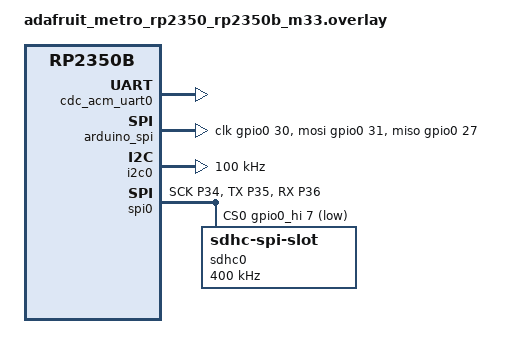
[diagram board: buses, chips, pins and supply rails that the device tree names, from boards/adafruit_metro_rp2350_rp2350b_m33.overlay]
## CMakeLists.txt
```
#-------------------------------------------------------------------------------
# Zephyr Example Application
#
# Copyright (c) 2021 Nordic Semiconductor ASA
# SPDX-License-Identifier: Apache-2.0

cmake_minimum_required(VERSION 3.13.1)

# Add custom devicetree bindings directory
list(APPEND DTS_ROOT ${CMAKE_CURRENT_SOURCE_DIR})

find_package(Zephyr REQUIRED HINTS $ENV{ZEPHYR_BASE})

project(app LANGUAGES C)

# USB device stack helpers (local copy)
set(SAMPLE_USBD_DIR ${CMAKE_CURRENT_SOURCE_DIR}/usb)
target_include_directories(app PRIVATE ${SAMPLE_USBD_DIR})
target_sources_ifdef(CONFIG_USB_DEVICE_STACK_NEXT app PRIVATE
  ${SAMPLE_USBD_DIR}/sample_usbd_init.c
)

target_sources(app PRIVATE
  src/json_parser.c
  src/main.c
  src/file_manager.c
)
```

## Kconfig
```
# Copyright (c) 2021 Nordic Semiconductor ASA
# SPDX-License-Identifier: Apache-2.0
#
# This file is the application Kconfig entry point. All application Kconfig
# options can be defined here or included via other application Kconfig files.
# You can browse these options using the west targets menuconfig (terminal) or
# guiconfig (GUI).

menu "Zephyr"
source "Kconfig.zephyr"
endmenu

# Include USB sample configuration options
rsource "usb/Kconfig.sample_usbd"

module = ZTHULHU
module-str = ZTHULHU
source "subsys/logging/Kconfig.template.log_config"
```

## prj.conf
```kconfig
# USB Device Configuration (New Stack)
CONFIG_USB_DEVICE_STACK_NEXT=y
CONFIG_USBD_CDC_ACM_CLASS=y

# USB Device Descriptors (Adafruit VID/PID)
CONFIG_SAMPLE_USBD_VID=0x239A
CONFIG_SAMPLE_USBD_PID=0x8123
CONFIG_SAMPLE_USBD_MANUFACTURER="Adafruit Industries LLC"
CONFIG_SAMPLE_USBD_PRODUCT="Metro RP2350"

# Serial and Console
CONFIG_SERIAL=y
CONFIG_CONSOLE=y
CONFIG_UART_CONSOLE=y
CONFIG_UART_LINE_CTRL=y
CONFIG_STDOUT_CONSOLE=y

# Display and LVGL
CONFIG_DISPLAY=y
CONFIG_LVGL=y
CONFIG_LV_COLOR_DEPTH_24=y
CONFIG_LV_USE_LABEL=y
CONFIG_LV_FONT_MONTSERRAT_14=y

CONFIG_LV_Z_MEM_POOL_SIZE=16384


# Logging
CONFIG_LOG=y
CONFIG_LOG_DEFAULT_LEVEL=3
CONFIG_LOG_BUFFER_SIZE=8192
CONFIG_LOG_MODE_DEFERRED=y
# Reduce noise from display/LVGL
CONFIG_DISPLAY_LOG_LEVEL_WRN=y
CONFIG_LV_USE_LOG=n
# Silence I2C errors while debugging SD
CONFIG_I2C_LOG_LEVEL_OFF=y

# JSON
CONFIG_JSON_LIBRARY=y

# File system (SD card via SPI on Metro RP2350 onboard slot)
CONFIG_GPIO=y
CONFIG_SPI=y
CONFIG_SPI_LOG_LEVEL_WRN=y
CONFIG_SDHC=y
CONFIG_SDHC_LOG_LEVEL_DBG=y
CONFIG_SDMMC_STACK=y
# Note: DISK_DRIVER_SDMMC not needed - devicetree zephyr,sdmmc-disk handles it
CONFIG_FILE_SYSTEM=y
CONFIG_FS_LOG_LEVEL_DBG=y
CONFIG_FAT_FILESYSTEM_ELM=y
CONFIG_DISK_ACCESS=y
CONFIG_DISK_LOG_LEVEL_DBG=y

# Memory management
CONFIG_MAIN_STACK_SIZE=4096
CONFIG_HEAP_MEM_POOL_SIZE=16384
```

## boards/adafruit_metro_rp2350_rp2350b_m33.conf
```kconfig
# Force the image to start at flash base so RP2350 bootrom can find it.
CONFIG_USE_DT_CODE_PARTITION=n
CONFIG_FLASH_LOAD_OFFSET=0x0
CONFIG_FLASH_LOAD_SIZE=0x1000000
```

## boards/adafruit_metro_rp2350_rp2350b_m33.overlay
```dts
/*
 * Copyright (c) 2026 Pythulhu Project
 * SPDX-License-Identifier: Apache-2.0
 */

#include <zephyr/dt-bindings/pinctrl/rpi-pico-rp2350b-pinctrl.h>
#include <zephyr/dt-bindings/gpio/gpio.h>
#include <zephyr/dt-bindings/i2c/i2c.h>
#include <zephyr/dt-bindings/input/input-event-codes.h>
#include <zephyr/dt-bindings/clock/rpi_pico_clock_common.h>

/ {
	chosen {
		zephyr,console = &cdc_acm_uart0;
		zephyr,shell-uart = &cdc_acm_uart0;
	};

	/* LVGL encoder input pseudo-device */
	lvgl_encoder: lvgl_encoder {
		compatible = "zephyr,lvgl-encoder-input";
		rotation-input-code = <INPUT_REL_Y>;
		button-input-code = <INPUT_KEY_0>;
	};
};

&zephyr_udc0 {
	cdc_acm_uart0: cdc_acm_uart0 {
		compatible = "zephyr,cdc-acm-uart";
	};
};

&pinctrl {
	pio0_spi0_arduino_default: pio0_spi0_arduino_default {
		group1 {
			/* ICSP SPI1: SCK=GPIO30, MOSI=GPIO31, MISO=GPIO27 */
			pinmux = <PIO0_P30>, <PIO0_P31>, <PIO0_P27>;
		};
	};

	/* Metro RP2350 onboard SD card slot - hardware SPI0 */
	spi0_sd_default: spi0_sd_default {
		group1 {
			pinmux = <SPI0_SCK_P34>, <SPI0_TX_P35>;
		};
		group2 {
			pinmux = <SPI0_RX_P36>;
			input-enable;
		};
	};
};

&arduino_spi {
	clk-gpios = <&gpio0 30 0>;
	mosi-gpios = <&gpio0 31 0>;
	miso-gpios = <&gpio0 27 0>;
	pinctrl-0 = <&pio0_spi0_arduino_default>;
	pinctrl-names = "default";
};

/* Enable gpio0_hi for GPIOs 32-47 (used by onboard SD card) */
&gpio0_hi {
	status = "okay";
};

/* STEMMA QT I2C - GPIO20 (SDA) and GPIO21 (SCL) */
/* FIXME: CHANGE TO USE ARDUINO I2C */
&i2c0 {
	status = "okay";
	clock-frequency = <I2C_BITRATE_STANDARD>;

	seesaw: seesaw@36 {
		compatible = "adafruit,seesaw-encoder";
		reg = <0x36>;
		seesaw-product-id = <4991>;
		encoder-pin = <24>;
		poll-interval-ms = <10>;
		/* Disabled while debugging SD card */
		status = "disabled";
	};
};

/* Metro RP2350 onboard SD card slot - hardware SPI0 */
&spi0 {
	status = "okay";
	pinctrl-0 = <&spi0_sd_default>;
	pinctrl-names = "default";
	cs-gpios = <&gpio0_hi 7 GPIO_ACTIVE_LOW>;  /* GPIO 39 = 32 + 7 */

	sdhc0: sdhc@0 {
		compatible = "zephyr,sdhc-spi-slot";
		reg = <0>;
		status = "okay";
		spi-max-frequency = <400000>;
		power-delay-ms = <100>;
		mmc {
			compatible = "zephyr,sdmmc-disk";
			disk-name = "SD0";
			status = "okay";
		};
	};
};
```

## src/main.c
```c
#include <sample_usbd.h>

#include "file_manager.h"

#include <zephyr/device.h>
#include <zephyr/devicetree.h>
#include <zephyr/drivers/display.h>
#include <zephyr/drivers/uart.h>
#include <zephyr/kernel.h>
#include <zephyr/logging/log.h>
#include <zephyr/usb/usbd.h>
#include <lvgl.h>

LOG_MODULE_REGISTER(zthulhu, LOG_LEVEL_DBG);

#define UI_TICK_MS 10

static const struct device *const console_dev = DEVICE_DT_GET_ONE(zephyr_cdc_acm_uart);
static struct usbd_context *sample_usbd;
static K_SEM_DEFINE(dtr_sem, 0, 1);

static void usb_msg_cb(struct usbd_context *const ctx, const struct usbd_msg *msg)
{

	/* Handle VBUS detection if supported */
	if (usbd_can_detect_vbus(ctx)) {
		if (msg->type == USBD_MSG_VBUS_READY) {
			if (usbd_enable(ctx)) {
				LOG_ERR("Failed to enable USB device");
			}
		}
		if (msg->type == USBD_MSG_VBUS_REMOVED) {
			if (usbd_disable(ctx)) {
				LOG_ERR("Failed to disable USB device");
			}
		}
	}

	/* Handle DTR signal for console connection detection */
	if (msg->type == USBD_MSG_CDC_ACM_CONTROL_LINE_STATE) {
		uint32_t dtr = 0;
		uart_line_ctrl_get(msg->dev, UART_LINE_CTRL_DTR, &dtr);
		if (dtr) {
			LOG_INF("USB console connected");
			k_sem_give(&dtr_sem);
		}
	}
}

static int enable_usb_device(void)
{
	int err;

	sample_usbd = sample_usbd_init_device(usb_msg_cb);
	if (sample_usbd == NULL) {
		LOG_ERR("Failed to initialize USB device");
		return -ENODEV;
	}

	/* If VBUS detection is not available, enable USB immediately */
	if (!usbd_can_detect_vbus(sample_usbd)) {
		err = usbd_enable(sample_usbd);
		if (err) {
			LOG_ERR("Failed to enable USB device");
			return err;
		}
	}

	LOG_INF("USB device support enabled");
	return 0;
}

int main(void)
{
	const struct device *display_dev;
	int ret;

	LOG_INF("Zthulhu starting...");

	/* Initialize USB CDC ACM */
	if (!device_is_ready(console_dev)) {
		LOG_ERR("CDC ACM device not ready");
		return -ENODEV;
	}

	ret = enable_usb_device();
	if (ret != 0) {
		LOG_ERR("Failed to enable USB device support");
		return ret;
	}

	/* Wait for DTR with timeout (optional - don't block indefinitely) */
	if (k_sem_take(&dtr_sem, K_MSEC(5000)) == 0) {
		LOG_INF("Console terminal connected");
	} else {
		LOG_INF("No console terminal connected, continuing anyway");
	}

	/* Initialize display */
	display_dev = DEVICE_DT_GET(DT_CHOSEN(zephyr_display));
	if (!device_is_ready(display_dev)) {
		LOG_ERR("Display device not ready");
		return -ENODEV;
	}

	LOG_INF("Display device ready: %s", display_dev->name);

	ret = display_blanking_off(display_dev);
	if (ret != 0) {
		LOG_WRN("Failed to turn off display blanking: %d", ret);
	}

	/* Set up LVGL screen */
	lv_obj_t *screen = lv_screen_active();
	lv_obj_set_style_bg_color(screen, lv_color_black(), LV_PART_MAIN);
	lv_obj_set_style_bg_opa(screen, LV_OPA_COVER, LV_PART_MAIN);

	lv_obj_t *label = lv_label_create(screen);
	lv_label_set_text(label, "Zthulhu: TTRPG Companion");
	lv_obj_set_style_text_color(label, lv_color_hex(0x00FF00), LV_PART_MAIN);
	lv_obj_align(label, LV_ALIGN_CENTER, 0, -20);

	/* Mount SD card and show status on display */
	lv_obj_t *sd_status = lv_label_create(screen);
	lv_obj_align(sd_status, LV_ALIGN_CENTER, 0, 20);

	lv_label_set_text(sd_status, "SD: initializing...");
	lv_obj_set_style_text_color(sd_status, lv_color_hex(0xFFFF00), LV_PART_MAIN);
	lv_timer_handler();

	ret = zth_file_manager_mount_sdcard();
	if (ret != 0) {
		const char *step = zth_file_manager_get_error_step();
		int code = zth_file_manager_get_error_code();
		LOG_WRN("Failed to mount SD card: %d (continuing without storage)", ret);
		lv_label_set_text_fmt(sd_status, "SD: %s err %d", step ? step : "unknown", code);
		lv_obj_set_style_text_color(sd_status, lv_color_hex(0xFF0000), LV_PART_MAIN);
	} else {
		LOG_INF("SD card mounted at %s", ZTH_MOUNT_POINT);
		lv_label_set_text_fmt(sd_status, "SD: mounted at %s", ZTH_MOUNT_POINT);
		lv_obj_set_style_text_color(sd_status, lv_color_hex(0x00FF00), LV_PART_MAIN);
		zth_file_manager_print_directory(ZTH_MOUNT_POINT, 0);
	}

	lv_timer_handler();
	LOG_INF("LVGL initialized, entering main loop");

	/* Main loop - LVGL timer handler
	 * Note: lv_tick_inc() is handled automatically by Zephyr's LVGL integration
	 */
	while (1) {
		lv_timer_handler();
		k_msleep(UI_TICK_MS);
	}

	return 0;
}
```

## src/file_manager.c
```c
#include "file_manager.h"

#include <string.h>

#include <zephyr/fs/fs.h>
#include <ff.h>
#include <zephyr/kernel.h>
#include <zephyr/logging/log.h>
#include <zephyr/storage/disk_access.h>

LOG_MODULE_REGISTER(file_manager, LOG_LEVEL_DBG);

static FATFS zth_fat_fs;
static struct fs_mount_t zth_mount = {
	.type = FS_FATFS,
	.fs_data = &zth_fat_fs,
	.mnt_point = ZTH_MOUNT_POINT,
	.storage_dev = (void *)ZTH_SD_DISK_NAME,
};

static int zth_file_manager_make_path(char *out, size_t out_len,
				      const char *prefix, const char *suffix,
				      const char *ext)
{
	int ret = snprintk(out, out_len, "%s%s%s", prefix, suffix, ext);

	if (ret < 0 || (size_t)ret >= out_len) {
		return -ENAMETOOLONG;
	}

	return 0;
}

/* Store last error step for display feedback */
static const char *zth_sd_error_step;
static int zth_sd_error_code;

const char *zth_file_manager_get_error_step(void)
{
	return zth_sd_error_step;
}

int zth_file_manager_get_error_code(void)
{
	return zth_sd_error_code;
}

int zth_file_manager_mount_sdcard(void)
{
	int ret;
	uint32_t sector_count = 0;
	uint32_t sector_size = 0;

	zth_sd_error_step = NULL;
	zth_sd_error_code = 0;

	LOG_INF("Initializing SD card disk '%s'...", ZTH_SD_DISK_NAME);

	/* Give SD card time to power up */
	k_msleep(100);

	/* Check if disk is already initialized (devicetree auto-init) */
	ret = disk_access_status(ZTH_SD_DISK_NAME);
	LOG_INF("Initial disk_access_status: %d", ret);

	if (ret == DISK_STATUS_UNINIT) {
		ret = disk_access_init(ZTH_SD_DISK_NAME);
		if (ret) {
			LOG_ERR("disk_access_init(%s) failed: %d", ZTH_SD_DISK_NAME, ret);
			zth_sd_error_step = "disk_init";
			zth_sd_error_code = ret;
			return ret;
		}
	} else if (ret < 0) {
		LOG_ERR("disk_access_status(%s) failed: %d", ZTH_SD_DISK_NAME, ret);
		zth_sd_error_step = "disk_status";
		zth_sd_error_code = ret;
		return ret;
	} else {
		LOG_INF("Disk already initialized (status=%d)", ret);
	}

	/* Check status after init */
	ret = disk_access_status(ZTH_SD_DISK_NAME);
	LOG_INF("Post-init disk_access_status: %d", ret);
	if (ret != DISK_STATUS_OK) {
		zth_sd_error_step = "disk_not_ok";
		zth_sd_error_code = ret;
		return -EIO;
	}

	ret = disk_access_ioctl(ZTH_SD_DISK_NAME, DISK_IOCTL_GET_SECTOR_COUNT, &sector_count);
	LOG_INF("Sector count: %u (ret=%d)", sector_count, ret);

	ret = disk_access_ioctl(ZTH_SD_DISK_NAME, DISK_IOCTL_GET_SECTOR_SIZE, &sector_size);
	LOG_INF("Sector size: %u (ret=%d)", sector_size, ret);

	LOG_INF("Mounting filesystem at %s...", ZTH_MOUNT_POINT);

	ret = fs_mount(&zth_mount);
	if (ret) {
		LOG_ERR("fs_mount(%s) failed: %d", ZTH_MOUNT_POINT, ret);
		zth_sd_error_step = "fs_mount";
		zth_sd_error_code = ret;
	} else {
		LOG_INF("Filesystem mounted successfully");
	}

	return ret;
}

int zth_file_manager_write_to(const char *path, const char *contents)
{
	struct fs_file_t file;
	ssize_t wrote;
	int ret;

	if (path == NULL || contents == NULL) {
		return -EINVAL;
	}

	fs_file_t_init(&file);
	ret = fs_open(&file, path, FS_O_CREATE | FS_O_WRITE);
	if (ret) {
		return ret;
	}

	ret = fs_seek(&file, 0, FS_SEEK_END);
	if (ret) {
		fs_close(&file);
		return ret;
	}

	wrote = fs_write(&file, contents, strlen(contents));
	if (wrote < 0) {
		ret = (int)wrote;
	}

	fs_close(&file);
	return ret;
}

int zth_file_manager_get_character_path(char *out, size_t out_len,
					const char *game,
					const char *character_name)
{
	if (out == NULL || game == NULL || character_name == NULL) {
		return -EINVAL;
	}

	char tmp[ZTH_FILE_MANAGER_PATH_MAX];
	int ret = zth_file_manager_make_path(tmp, sizeof(tmp), ZTH_CHARACTER_PATH,
					     game, "/");
	if (ret) {
		return ret;
	}

	return zth_file_manager_make_path(out, out_len, tmp, character_name,
					  ".json");
}

static int zth_file_manager_list_dir(const char *path, bool strip_json,
				     zth_file_name_cb cb, void *user)
{
	struct fs_dir_t dir;
	struct fs_dirent entry;
	int ret;

	if (path == NULL || cb == NULL) {
		return -EINVAL;
	}

	fs_dir_t_init(&dir);
	ret = fs_opendir(&dir, path);
	if (ret) {
		return ret;
	}

	while ((ret = fs_readdir(&dir, &entry)) == 0 && entry.name[0] != '\0') {
		if (entry.type == FS_DIR_ENTRY_FILE) {
			if (strip_json) {
				size_t len = strlen(entry.name);

				if (len > 5 && strcmp(entry.name + len - 5, ".json") == 0) {
					char name_buf[sizeof(entry.name)];

					memcpy(name_buf, entry.name, len - 5);
					name_buf[len - 5] = '\0';
					cb(name_buf, user);
				}
			} else {
				cb(entry.name, user);
			}
		}
	}

	fs_closedir(&dir);
	return ret;
}

int zth_file_manager_list_characters(const char *game, zth_file_name_cb cb,
				     void *user)
{
	char path[ZTH_FILE_MANAGER_PATH_MAX];
	int ret;

	if (game == NULL) {
		return -EINVAL;
	}

	ret = zth_file_manager_make_path(path, sizeof(path), ZTH_CHARACTER_PATH,
					 game, "");
	if (ret) {
		return ret;
	}

	return zth_file_manager_list_dir(path, true, cb, user);
}

int zth_file_manager_character_exists(const char *game, const char *name)
{
	char path[ZTH_FILE_MANAGER_PATH_MAX];
	struct fs_dirent entry;
	int ret;

	ret = zth_file_manager_get_character_path(path, sizeof(path), game, name);
	if (ret) {
		return ret;
	}

	ret = fs_stat(path, &entry);
	if (ret) {
		return 0;
	}

	return 1;
}

int zth_file_manager_list_all_character_paths(const char *game,
					      zth_file_name_cb cb, void *user)
{
	char path[ZTH_FILE_MANAGER_PATH_MAX];
	int ret;

	ret = zth_file_manager_make_path(path, sizeof(path), ZTH_CHARACTER_PATH,
					 game, "");
	if (ret) {
		return ret;
	}

	return zth_file_manager_list_dir(path, false, cb, user);
}

int zth_file_manager_get_image_path(char *out, size_t out_len,
				    const char *image_name)
{
	if (out == NULL || image_name == NULL) {
		return -EINVAL;
	}

	return zth_file_manager_make_path(out, out_len, ZTH_IMAGES_PATH,
					  image_name, ".bmp");
}

int zth_file_manager_print_directory(const char *path, int tabs)
{
	struct fs_dir_t dir;
	struct fs_dirent entry;
	int ret;

	if (path == NULL) {
		return -EINVAL;
	}

	fs_dir_t_init(&dir);
	ret = fs_opendir(&dir, path);
	if (ret) {
		return ret;
	}

	while ((ret = fs_readdir(&dir, &entry)) == 0 && entry.name[0] != '\0') {
		char pretty[ZTH_FILE_MANAGER_PATH_MAX];
		int offset = 0;

		for (int i = 0; i < tabs && offset < (int)(sizeof(pretty) - 1); i++) {
			offset += snprintk(pretty + offset, sizeof(pretty) - offset, "   ");
		}

		snprintk(pretty + offset, sizeof(pretty) - offset, "%s%s",
			 entry.name, entry.type == FS_DIR_ENTRY_DIR ? "/" : "");
		LOG_INF("%s", pretty);

		if (entry.type == FS_DIR_ENTRY_DIR) {
			char sub_path[ZTH_FILE_MANAGER_PATH_MAX];

			ret = snprintk(sub_path, sizeof(sub_path), "%s/%s", path,
				       entry.name);
			if (ret < 0 || ret >= (int)sizeof(sub_path)) {
				fs_closedir(&dir);
				return -ENAMETOOLONG;
			}

			ret = zth_file_manager_print_directory(sub_path, tabs + 1);
			if (ret) {
				fs_closedir(&dir);
				return ret;
			}
		}
	}

	fs_closedir(&dir);
	return ret;
}
```

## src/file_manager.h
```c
#ifndef ZTH_FILE_MANAGER_H
#define ZTH_FILE_MANAGER_H

#include <stddef.h>

#ifdef __cplusplus
extern "C" {
#endif

/* Use SD0 for Metro's onboard SD card (shield uses SD on arduino_spi) */
#define ZTH_SD_DISK_NAME "SD0"
#define ZTH_MOUNT_POINT "/SD0"
#define ZTH_CHARACTER_PATH ZTH_MOUNT_POINT "/characters/"
#define ZTH_IMAGES_PATH ZTH_MOUNT_POINT "/assets/images/"

#define ZTH_FILE_MANAGER_PATH_MAX 256

typedef void (*zth_file_name_cb)(const char *name, void *user);

int zth_file_manager_mount_sdcard(void);
const char *zth_file_manager_get_error_step(void);
int zth_file_manager_get_error_code(void);
int zth_file_manager_write_to(const char *path, const char *contents);
int zth_file_manager_get_character_path(char *out, size_t out_len,
					const char *game, const char *character_name);
int zth_file_manager_list_characters(const char *game, zth_file_name_cb cb,
				     void *user);
int zth_file_manager_character_exists(const char *game, const char *name);
int zth_file_manager_list_all_character_paths(const char *game,
					      zth_file_name_cb cb, void *user);
int zth_file_manager_get_image_path(char *out, size_t out_len,
				    const char *image_name);
int zth_file_manager_print_directory(const char *path, int tabs);

#ifdef __cplusplus
}
#endif

#endif /* ZTH_FILE_MANAGER_H */
```

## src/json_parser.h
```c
#ifndef ZTH_JSON_PARSER_H
#define ZTH_JSON_PARSER_H

#include <stdbool.h>
#include <stddef.h>
#include <stdint.h>

#ifdef __cplusplus
extern "C" {
#endif

#define ZTH_JSON_STR_MAX 64
#define ZTH_JSON_LONG_STR_MAX 128
#define ZTH_JSON_PATH_MAX 256
#define ZTH_IMPROVE_MAX 32
#define ZTH_IMPROVE_LINE_MAX 64

struct zth_coc_magic_points {
	int32_t maximum;
	int32_t current;
};

struct zth_coc_hit_points {
	int32_t maximum;
	int32_t current;
};

struct zth_coc_sanity {
	int32_t starting;
	int32_t current;
	int32_t insane;
	int32_t maximum;
	bool temporary_insanity;
	bool indefinite_insanity;
};

struct zth_coc_characteristics {
	int32_t str;
	int32_t con;
	int32_t dex;
	int32_t int_stat;
	int32_t siz;
	int32_t pow;
	int32_t app;
	int32_t edu;
	struct zth_coc_magic_points magic_points;
	struct zth_coc_hit_points hit_points;
	int32_t luck;
	struct zth_coc_sanity sanity;
	bool major_wound;
	bool unconscious;
	bool dying;
};

struct zth_coc_skill_firearms {
	int32_t handgun;
	int32_t rifle_shotgun;
};

struct zth_coc_skill_language {
	int32_t english;
	int32_t latin;
	int32_t own;
};

struct zth_coc_skill_pilot {
	int32_t vehicle;
};

struct zth_coc_skill_science {
	int32_t disciple;
};

struct zth_coc_skill_survival {
	int32_t type;
};

struct zth_coc_skill_other {
	int32_t specialty_1;
	int32_t specialty_2;
	int32_t specialty_3;
};

struct zth_coc_skills {
	int32_t accounting;
	int32_t appraise;
	int32_t archaeology;
	int32_t art_craft;
	int32_t charm;
	int32_t climb;
	int32_t computer_use;
	int32_t credit_rating;
	int32_t cthulhu_mythos;
	int32_t demolitions;
	int32_t disguise;
	int32_t diving;
	int32_t dodge;
	int32_t drive_auto;
	int32_t elec_repair;
	int32_t fast_talk;
	int32_t fighting_brawl;
	struct zth_coc_skill_firearms firearms;
	int32_t first_aid;
	int32_t history;
	int32_t intimidate;
	int32_t jump;
	struct zth_coc_skill_language language;
	int32_t law;
	int32_t library_use;
	int32_t listen;
	int32_t locksmith;
	int32_t mech_repair;
	int32_t medicine;
	int32_t natural_world;
	int32_t navigate;
	int32_t occult;
	int32_t persuade;
	struct zth_coc_skill_pilot pilot;
	int32_t psychoanalysis;
	int32_t psychology;
	int32_t read_lips;
	int32_t ride;
	struct zth_coc_skill_science science;
	int32_t sleight_of_hand;
	int32_t spot_hidden;
	int32_t stealth;
	struct zth_coc_skill_survival survival;
	int32_t swim;
	int32_t throw_skill;
	int32_t track;
	struct zth_coc_skill_other other;
};

struct zth_coc_weapon {
	char name[ZTH_JSON_STR_MAX];
	char skill[ZTH_JSON_STR_MAX];
	char damage[ZTH_JSON_STR_MAX];
	int32_t num_attacks;
	char range[ZTH_JSON_STR_MAX];
};

struct zth_coc_weapons {
	struct zth_coc_weapon weapon_1;
	struct zth_coc_weapon weapon_2;
	struct zth_coc_weapon weapon_3;
};

struct zth_coc_phobias {
	char phobia_1[ZTH_JSON_STR_MAX];
	char phobia_2[ZTH_JSON_STR_MAX];
	char phobia_3[ZTH_JSON_STR_MAX];
};

struct zth_coc_character {
	char name[ZTH_JSON_STR_MAX];
	char pronoun[ZTH_JSON_STR_MAX];
	char occupation[ZTH_JSON_STR_MAX];
	char archetype[ZTH_JSON_STR_MAX];
	char residence[ZTH_JSON_STR_MAX];
	char birthplace[ZTH_JSON_STR_MAX];
	int32_t age;
	struct zth_coc_characteristics characteristics;
	struct zth_coc_skills skills;
	struct zth_coc_weapons weapons;
	struct zth_coc_phobias phobias;
};

struct zth_skill_improvements {
	char entries[ZTH_IMPROVE_MAX][ZTH_IMPROVE_LINE_MAX];
	size_t count;
};

typedef void (*zth_coc_skill_cb)(const char *name, int32_t value, int indent,
				 bool is_group, void *user);

int zth_json_load_coc_character(const char *path,
				struct zth_coc_character *out);
int zth_json_parse_coc_character(const char *json, size_t len,
				 struct zth_coc_character *out);
int zth_json_save_coc_character(const char *path,
				const struct zth_coc_character *sheet);
int zth_coc_get_value_at_key(const struct zth_coc_character *sheet,
			     const char *key, int32_t *out);
void zth_coc_iter_skills(const struct zth_coc_character *sheet,
			 zth_coc_skill_cb cb, void *user);
int zth_coc_load_improvements(const char *character_path,
			      struct zth_skill_improvements *out);
int zth_coc_save_improvements(const char *character_path,
			      const struct zth_skill_improvements *in);
int zth_coc_mark_improvement(struct zth_skill_improvements *improvements,
			     const char *skill);
int zth_coc_unmark_improvement(struct zth_skill_improvements *improvements,
			       const char *skill);

#ifdef __cplusplus
}
#endif

#endif /* ZTH_JSON_PARSER_H */
```
